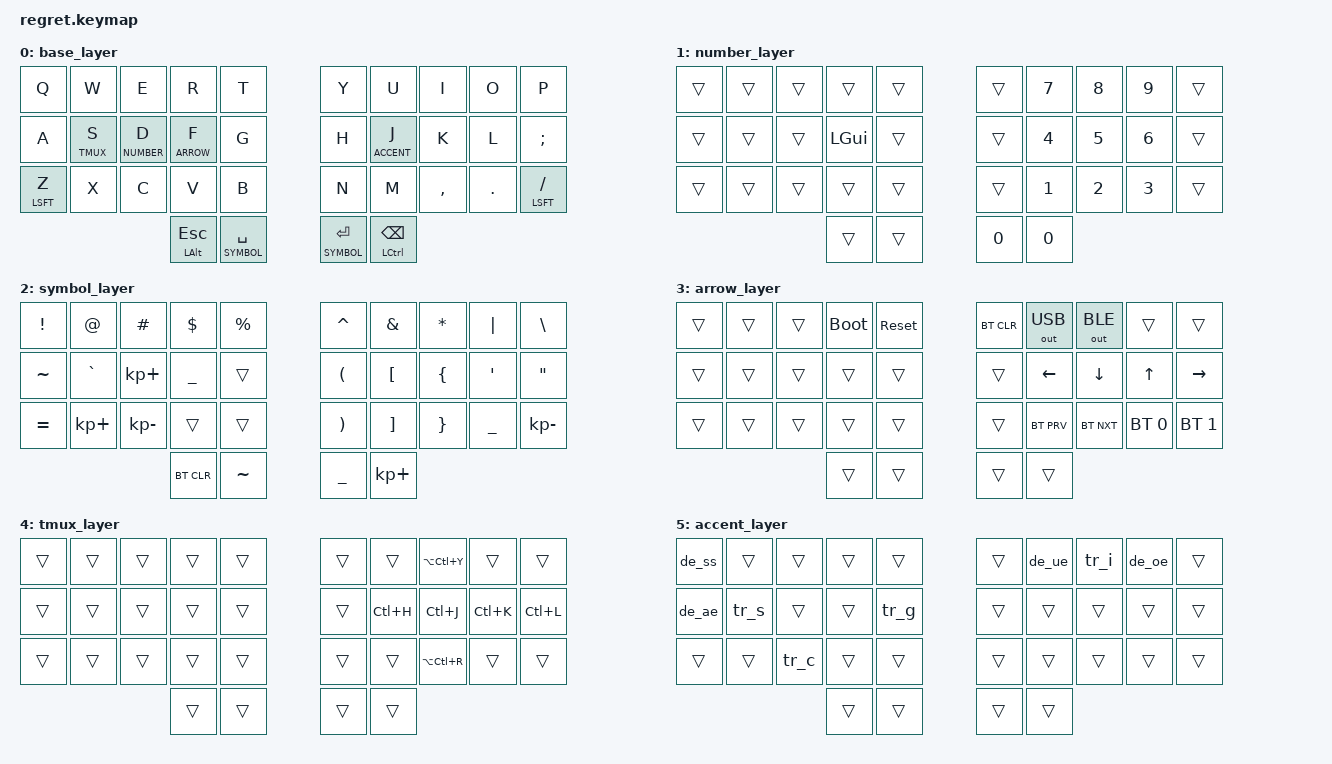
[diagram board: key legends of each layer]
#include <behaviors.dtsi>
#include <dt-bindings/zmk/keys.h>
#include <dt-bindings/zmk/rgb.h>
#include <dt-bindings/zmk/bt.h>
#include <dt-bindings/zmk/ext_power.h>
#include <dt-bindings/zmk/outputs.h>

&mt {
    quick_tap_ms = <200>;
};

&lt {
    quick_tap_ms = <200>;
};

/ {
    behaviors {
        hl: homerow_mods_left {
            compatible = "zmk,behavior-hold-tap";
            label = "homerow mods left";
            #binding-cells = <2>;
            flavor = "balanced";
            tapping-term-ms = <250>;
            bindings = <&kp>, <&kp>;
            // opposite side hand keys
            hold-trigger-key-positions = <5 6 7 8 9 15 16 17 18 19 25 26 27 28 29 30 31 32 33 34 35>;
        };
        hr: homerow_mods_right {
            compatible = "zmk,behavior-hold-tap";
            label = "homerow mods right";
            #binding-cells = <2>;
            flavor = "balanced";
            tapping-term-ms = <250>;
            bindings = <&kp>, <&kp>;
            // opposite side hand keys
            hold-trigger-key-positions = <0 1 2 3 4 10 11 12 13 14 20 21 22 23 24 30 31 32 33 34 35>;
        };
    };

    combos {
        compatible = "zmk,combos";
        combo_del {
            timeout-ms = <50>;
            key-positions = <15 16>;
            bindings = <&kp BSPC>;
        };
        combo_tab {
            timeout-ms = <50>;
            key-positions = <16 17>;
            bindings = <&kp TAB>;
        };
        combo_alt {
            timeout-ms = <50>;
            key-positions = <25 26>;
            bindings = <&kp LGUI>;
        };
        
        /* RGB toggle on bottom corners */
        combo_rgb_tog {
            key-positions = <20 29>;
            bindings = <&rgb_ug RGB_TOG>;
        };
        
        /* Bootloader on top corners */
        combo_boot {
            key-positions = <0 9>;
            bindings = <&bootloader>;
        };
    };

    macros {
        // German Characters
        de_ae: de_ae {
            label = "DE_AE";
            compatible = "zmk,behavior-macro";
            #binding-cells = <0>;
            wait-ms = <0>;
            tap-ms = <0>;
            bindings = <&kp RALT &kp U &kp N0 &kp N0 &kp E &kp N4 &kp RET>;  // ä (00E4)
        };
        de_oe: de_oe {
            label = "DE_OE";
            compatible = "zmk,behavior-macro";
            #binding-cells = <0>;
            wait-ms = <0>;
            tap-ms = <0>;
            bindings = <&kp RALT &kp U &kp N0 &kp N0 &kp F &kp N6 &kp RET>;  // ö (00F6)
        };
        de_ue: de_ue {
            label = "DE_UE";
            compatible = "zmk,behavior-macro";
            #binding-cells = <0>;
            wait-ms = <0>;
            tap-ms = <0>;
            bindings = <&kp RALT &kp U &kp N0 &kp N0 &kp F &kp C &kp RET>;  // ü (00FC)
        };
        de_ss: de_ss {
            label = "DE_SS";
            compatible = "zmk,behavior-macro";
            #binding-cells = <0>;
            wait-ms = <0>;
            tap-ms = <0>;
            bindings = <&kp RALT &kp U &kp N0 &kp N0 &kp D &kp F &kp RET>;  // ß (00DF)
        };

        // Turkish Characters
        tr_i: tr_i {
            label = "TR_I";
            compatible = "zmk,behavior-macro";
            #binding-cells = <0>;
            wait-ms = <0>;
            tap-ms = <0>;
            bindings = <&kp RALT &kp U &kp N0 &kp N1 &kp N3 &kp N1 &kp RET>;  // ı (0131)
        };
        tr_g: tr_g {
            label = "TR_G";
            compatible = "zmk,behavior-macro";
            #binding-cells = <0>;
            wait-ms = <0>;
            tap-ms = <0>;
            bindings = <&kp RALT &kp U &kp N0 &kp N1 &kp N1 &kp F &kp RET>;  // ğ (011F)
        };
        tr_s: tr_s {
            label = "TR_S";
            compatible = "zmk,behavior-macro";
            #binding-cells = <0>;
            wait-ms = <0>;
            tap-ms = <0>;
            bindings = <&kp RALT &kp U &kp N0 &kp N1 &kp N5 &kp F &kp RET>;  // ş (015F)
        };
        tr_c: tr_c {
            label = "TR_C";
            compatible = "zmk,behavior-macro";
            #binding-cells = <0>;
            wait-ms = <0>;
            tap-ms = <0>;
            bindings = <&kp RALT &kp U &kp N0 &kp N0 &kp E &kp N7 &kp RET>;  // ç (00E7)
        };
        tr_o: tr_o {
            label = "TR_O";
            compatible = "zmk,behavior-macro";
            #binding-cells = <0>;
            wait-ms = <0>;
            tap-ms = <0>;
            bindings = <&kp RALT &kp U &kp N0 &kp N0 &kp F &kp N6 &kp RET>;  // ö (00F6)
        };
        
        // Keep useful existing macros
        snip: snip {
            compatible = "zmk,behavior-macro";
            #binding-cells = <0>;
            bindings = <&macro_press &kp LSHFT &kp LEFT_GUI
                        &macro_tap &kp S
                        &macro_release &kp LSHIFT &kp LEFT_GUI>;
            label = "SNIP";
        };
    };

    #define BASE 0
    #define NUMBER 1
    #define SYMBOL 2
    #define ARROW 3
    #define TMUX 4
    #define ACCENT 5

    keymap {
        compatible = "zmk,keymap";
                
        base_layer {
// ------------------------------------------------------------------------------------------------------
// |    0    |    1    |    2    |    3    |    4    |    5    |    6    |    7    |    8    |    9    |
// |   10    |   11    |   12    |   13    |   14    |   15    |   16    |   17    |   18    |   19    |
// |   20    |   21    |   22    |   23    |   24    |   25    |   26    |   27    |   28    |   29    |
//                               |   30    |   31    |   32    |   33    |
            bindings = <
    &kp Q       &kp W        &kp E          &kp R           &kp T       &kp Y       &kp U       &kp I       &kp O       &kp P
    &kp A       &lt TMUX S   &lt NUMBER D   &lt ARROW F     &kp G       &kp H       &lt ACCENT J &kp K      &kp L       &kp SEMICOLON
    &mt LSFT Z  &kp X        &kp C          &kp V           &kp B       &kp N       &kp M       &kp COMMA   &kp DOT     &mt LSFT SLASH
                                            &mt LALT ESC    &lt SYMBOL SPACE   &lt SYMBOL ENTER  &mt LCTRL BSPC
            >;
        };

        number_layer {
            bindings = <
    &trans    &trans    &trans    &trans    &trans             &trans    &kp N7    &kp N8    &kp N9    &trans     
    &trans    &trans    &trans    &kp LGUI  &trans             &trans    &kp N4    &kp N5    &kp N6    &trans 
    &trans    &trans    &trans    &trans    &trans             &trans    &kp N1    &kp N2    &kp N3    &trans
                                  &trans    &trans             &kp N0    &kp N0 
            >;
        };
        
        symbol_layer {
            bindings = <
    &kp EXCL       &kp AT        &kp HASH       &kp DOLLAR      &kp PERCENT    &kp CARET   &kp AMPERSAND &kp ASTERISK  &kp PIPE      &kp BACKSLASH
    &kp TILDE      &kp GRAVE     &kp KP_PLUS    &kp UNDER       &trans         &kp LPAR    &kp LBKT      &kp LBRC      &kp SQT       &kp DQT  
    &kp EQUAL      &kp KP_PLUS   &kp KP_MINUS   &trans          &trans         &kp RPAR    &kp RBKT      &kp RBRC      &kp UNDER     &kp KP_MINUS  
                                                &bt BT_CLR      &kp TILDE      &kp UNDER   &kp KP_PLUS  
            >;
        };    
        
        arrow_layer {
            bindings = <
    &trans    &trans    &trans        &bootloader    &sys_reset      &bt BT_CLR  &out OUT_USB &out OUT_BLE &trans     &trans     
    &trans    &trans    &trans        &trans         &trans          &trans      &kp LEFT     &kp DOWN     &kp UP     &kp RIGHT  
    &trans    &trans    &trans        &trans         &trans          &trans      &bt BT_PRV   &bt BT_NXT   &bt BT_SEL 0 &bt BT_SEL 1 
                                      &trans         &trans          &trans      &trans  
            >;
        };    

        tmux_layer {
            bindings = <
    &trans    &trans    &trans    &trans    &trans             &trans      &trans    &kp LA(LC(Y))  &trans      &trans     
    &trans    &trans    &trans    &trans    &trans             &trans      &kp LC(H) &kp LC(J)      &kp LC(K)   &kp LC(L)
    &trans    &trans    &trans    &trans    &trans             &trans      &trans    &kp LA(LC(R))  &trans      &trans 
                                  &trans    &trans             &trans      &trans  
            >;
        };    

        accent_layer {
            bindings = <
    &de_ss    &trans    &trans    &trans    &trans             &trans      &de_ue    &tr_i    &de_oe    &trans     
    &de_ae    &tr_s     &trans    &trans    &tr_g              &trans      &trans    &trans   &trans    &trans
    &trans    &trans    &tr_c     &trans    &trans             &trans      &trans    &trans   &trans    &trans 
                                  &trans    &trans             &trans      &trans  
            >;
        };
    };
};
